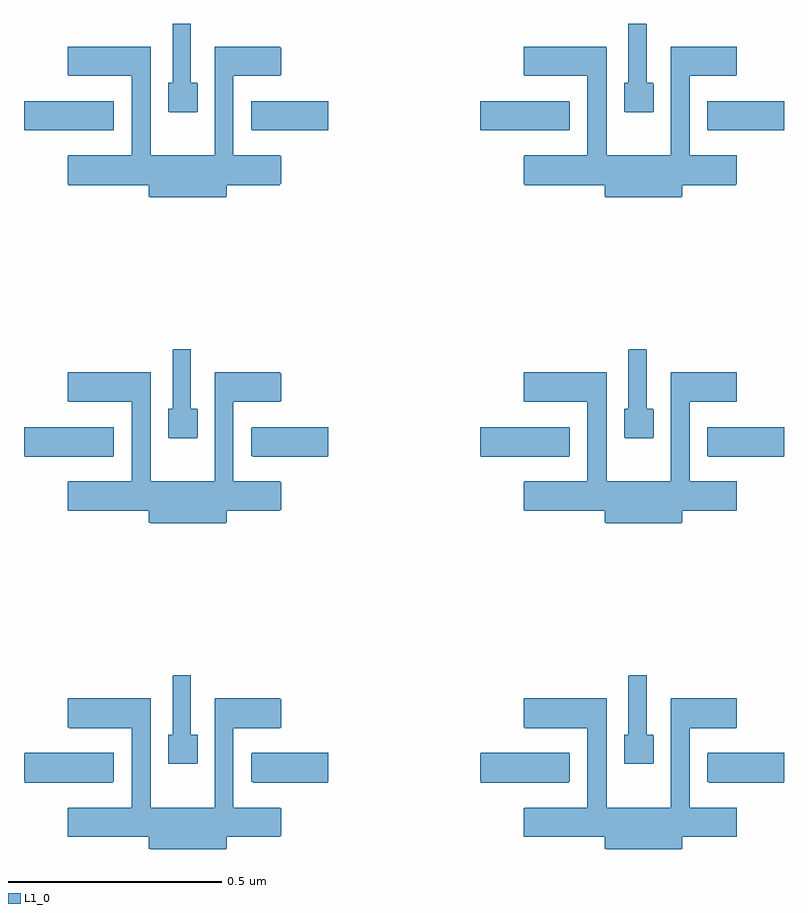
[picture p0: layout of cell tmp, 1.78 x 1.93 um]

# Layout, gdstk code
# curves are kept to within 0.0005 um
import gdstk
lib = gdstk.Library(unit=1e-6, precision=1e-09)
def P(c, l, *ps):  # polygons
    for p in ps: c.add(gdstk.Polygon(p, *l))
L1_0 = (1, 0)

tmp = lib.new_cell('tmp')
P(tmp, L1_0, [(1.65,0.988),(1.648,0.986),(1.648,0.92),(1.65,0.92),(1.65,0.92),(1.652,0.918),(1.826,0.918),(1.828,0.92),(1.828,0.988)],
  [(1.118,0.988),(1.116,0.986),(1.116,0.922),(1.118,0.92),(1.118,0.918),(1.324,0.918),(1.324,0.92),(1.326,0.92),(1.326,0.988)],
  [(1.22,1.116),(1.218,1.114),(1.218,1.048),(1.22,1.048),(1.222,1.046),(1.368,1.046),(1.368,0.862),(1.366,0.86),(1.22,0.86),(1.218,0.858),(1.218,0.792),(1.408,0.792),(1.408,0.764),(1.41,0.764),(1.412,0.762),(1.588,0.762),(1.59,0.764),(1.59,0.792),(1.716,0.792),(1.716,0.794),(1.718,0.794),(1.718,0.858),(1.716,0.86),(1.608,0.86),(1.606,0.862),(1.606,1.046),(1.716,1.046),(1.718,1.048),(1.718,1.112),(1.716,1.114),(1.716,1.116),(1.564,1.116),(1.562,1.114),(1.562,0.86),(1.414,0.86),(1.412,0.862),(1.412,1.116)],
  [(1.466,1.17),(1.466,1.168),(1.464,1.168),(1.464,1.032),(1.462,1.03),(1.454,1.03),(1.454,0.962),(1.52,0.962),(1.522,0.964),(1.522,1.03),(1.508,1.03),(1.506,1.032),(1.506,1.17)],
  [(1.65,1.75),(1.648,1.749),(1.648,1.683),(1.65,1.682),(1.65,1.682),(1.652,1.681),(1.826,1.681),(1.828,1.682),(1.828,1.75)],
  [(1.118,1.75),(1.116,1.749),(1.116,1.684),(1.118,1.683),(1.118,1.681),(1.324,1.681),(1.324,1.682),(1.326,1.682),(1.326,1.75)],
  [(1.22,1.878),(1.218,1.877),(1.218,1.811),(1.222,1.809),(1.366,1.809),(1.368,1.808),(1.368,1.624),(1.366,1.623),(1.22,1.623),(1.218,1.621),(1.218,1.555),(1.22,1.555),(1.22,1.554),(1.408,1.554),(1.408,1.527),(1.412,1.525),(1.588,1.525),(1.59,1.527),(1.59,1.554),(1.714,1.554),(1.718,1.557),(1.718,1.621),(1.716,1.622),(1.716,1.623),(1.608,1.623),(1.606,1.624),(1.606,1.808),(1.608,1.809),(1.716,1.809),(1.718,1.811),(1.718,1.875),(1.716,1.876),(1.716,1.878),(1.564,1.878),(1.562,1.877),(1.562,1.623),(1.414,1.623),(1.412,1.624),(1.412,1.878)],
  [(1.466,1.932),(1.466,1.931),(1.464,1.931),(1.464,1.794),(1.462,1.793),(1.454,1.793),(1.454,1.725),(1.456,1.725),(1.456,1.724),(1.52,1.724),(1.522,1.726),(1.522,1.792),(1.52,1.793),(1.508,1.793),(1.506,1.794),(1.506,1.932)],
  [(1.65,2.512),(1.648,2.512),(1.648,2.446),(1.65,2.444),(1.65,2.444),(1.652,2.444),(1.826,2.444),(1.828,2.444),(1.828,2.512)],
  [(1.118,2.512),(1.116,2.512),(1.116,2.446),(1.118,2.446),(1.118,2.444),(1.118,2.444),(1.324,2.444),(1.324,2.444),(1.326,2.444),(1.326,2.446),(1.326,2.446),(1.326,2.51),(1.326,2.512),(1.326,2.512)],
  [(1.22,2.64),(1.218,2.64),(1.218,2.574),(1.22,2.572),(1.366,2.572),(1.368,2.57),(1.368,2.386),(1.22,2.386),(1.218,2.384),(1.218,2.318),(1.22,2.318),(1.22,2.316),(1.408,2.316),(1.408,2.29),(1.41,2.288),(1.588,2.288),(1.59,2.29),(1.59,2.316),(1.714,2.316),(1.718,2.32),(1.718,2.384),(1.716,2.384),(1.716,2.386),(1.606,2.386),(1.606,2.57),(1.608,2.572),(1.716,2.572),(1.718,2.574),(1.718,2.638),(1.716,2.638),(1.716,2.64),(1.562,2.64),(1.562,2.386),(1.412,2.386),(1.412,2.64)],
  [(1.466,2.694),(1.464,2.694),(1.464,2.556),(1.454,2.556),(1.454,2.488),(1.456,2.488),(1.456,2.486),(1.52,2.486),(1.522,2.488),(1.522,2.554),(1.52,2.556),(1.506,2.556),(1.506,2.694)],
  [(2.716,0.988),(2.715,0.986),(2.715,0.92),(2.716,0.92),(2.717,0.92),(2.718,0.918),(2.893,0.918),(2.894,0.92),(2.894,0.988)],
  [(2.184,0.988),(2.183,0.986),(2.183,0.922),(2.185,0.918),(2.39,0.918),(2.393,0.922),(2.393,0.986),(2.392,0.986),(2.392,0.988)],
  [(2.286,1.116),(2.285,1.114),(2.285,1.048),(2.287,1.048),(2.288,1.046),(2.434,1.046),(2.434,0.862),(2.433,0.86),(2.287,0.86),(2.285,0.858),(2.285,0.792),(2.474,0.792),(2.475,0.79),(2.475,0.764),(2.477,0.764),(2.478,0.762),(2.654,0.762),(2.656,0.764),(2.656,0.79),(2.657,0.792),(2.783,0.792),(2.783,0.794),(2.784,0.794),(2.784,0.858),(2.783,0.86),(2.674,0.86),(2.673,0.862),(2.673,1.046),(2.782,1.046),(2.784,1.048),(2.784,1.112),(2.782,1.116),(2.63,1.116),(2.629,1.114),(2.629,0.862),(2.628,0.86),(2.48,0.86),(2.479,0.862),(2.479,1.114),(2.478,1.114),(2.478,1.116)],
  [(2.533,1.17),(2.532,1.168),(2.53,1.168),(2.53,1.032),(2.529,1.03),(2.52,1.03),(2.52,0.964),(2.521,0.962),(2.587,0.962),(2.589,0.964),(2.589,1.028),(2.588,1.028),(2.588,1.03),(2.574,1.03),(2.573,1.032),(2.573,1.168),(2.572,1.168),(2.572,1.17)],
  [(2.716,1.75),(2.715,1.749),(2.715,1.683),(2.716,1.682),(2.717,1.682),(2.718,1.681),(2.893,1.681),(2.894,1.682),(2.894,1.75)],
  [(2.184,1.75),(2.183,1.749),(2.183,1.684),(2.185,1.681),(2.39,1.681),(2.392,1.682),(2.393,1.684),(2.393,1.748),(2.392,1.75)],
  [(2.286,1.878),(2.285,1.877),(2.285,1.811),(2.288,1.809),(2.433,1.809),(2.434,1.808),(2.434,1.624),(2.433,1.623),(2.287,1.623),(2.285,1.621),(2.285,1.555),(2.287,1.554),(2.474,1.554),(2.475,1.553),(2.475,1.527),(2.478,1.525),(2.654,1.525),(2.656,1.527),(2.656,1.553),(2.657,1.554),(2.781,1.554),(2.783,1.555),(2.784,1.557),(2.784,1.621),(2.783,1.623),(2.674,1.623),(2.673,1.624),(2.673,1.808),(2.674,1.809),(2.782,1.809),(2.784,1.811),(2.784,1.875),(2.782,1.878),(2.63,1.878),(2.629,1.877),(2.629,1.624),(2.628,1.623),(2.48,1.623),(2.479,1.624),(2.479,1.876),(2.478,1.878)],
  [(2.533,1.932),(2.532,1.931),(2.53,1.931),(2.53,1.794),(2.529,1.793),(2.521,1.793),(2.52,1.792),(2.52,1.726),(2.523,1.724),(2.587,1.724),(2.589,1.726),(2.589,1.79),(2.587,1.793),(2.574,1.793),(2.573,1.794),(2.573,1.93),(2.572,1.932)],
  [(2.716,2.512),(2.715,2.512),(2.715,2.446),(2.716,2.444),(2.717,2.444),(2.718,2.444),(2.893,2.444),(2.894,2.444),(2.894,2.512)],
  [(2.184,2.512),(2.183,2.512),(2.183,2.446),(2.184,2.446),(2.184,2.444),(2.392,2.444),(2.392,2.446),(2.393,2.446),(2.393,2.51),(2.392,2.512)],
  [(2.286,2.64),(2.285,2.64),(2.285,2.574),(2.286,2.572),(2.433,2.572),(2.434,2.57),(2.434,2.386),(2.287,2.386),(2.285,2.384),(2.285,2.318),(2.286,2.318),(2.287,2.316),(2.475,2.316),(2.475,2.29),(2.476,2.288),(2.654,2.288),(2.656,2.29),(2.656,2.316),(2.781,2.316),(2.782,2.318),(2.783,2.318),(2.784,2.32),(2.784,2.384),(2.783,2.384),(2.783,2.386),(2.673,2.386),(2.673,2.57),(2.674,2.572),(2.782,2.572),(2.784,2.574),(2.784,2.638),(2.783,2.638),(2.783,2.64),(2.629,2.64),(2.629,2.386),(2.479,2.386),(2.479,2.638),(2.478,2.64)],
  [(2.533,2.694),(2.53,2.694),(2.53,2.556),(2.521,2.556),(2.52,2.554),(2.52,2.488),(2.522,2.488),(2.523,2.486),(2.587,2.486),(2.589,2.488),(2.589,2.552),(2.587,2.556),(2.573,2.556),(2.573,2.692),(2.572,2.694)])

lib.write_gds('tmp.gds')
